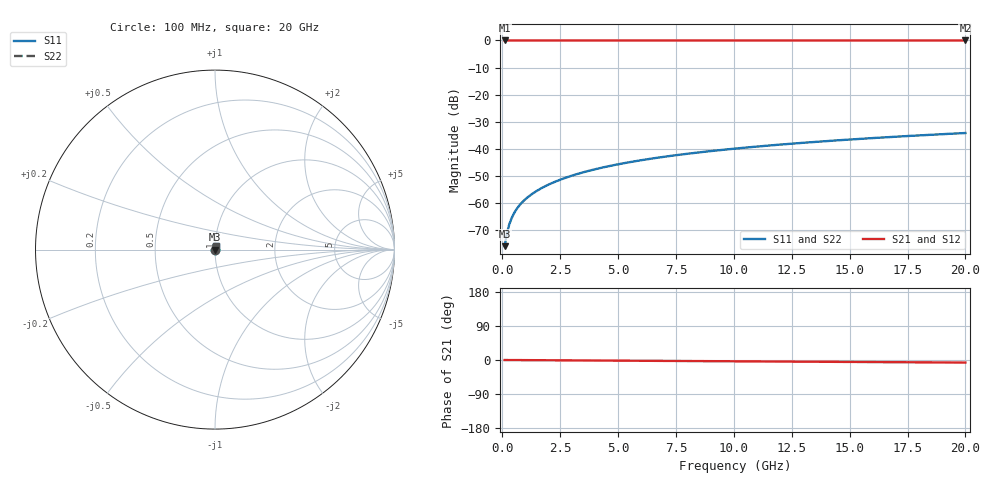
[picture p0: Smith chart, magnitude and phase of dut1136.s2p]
! Touchstone file exported from HFSS 2026.1.0
!  File:  C:/ffzhzh/LocalFiles/Ansys_Project_Files/temp_train_TSV_1136_1783191263_43440.aedt
!  Generated:  02:55:58 AM Jul  5, 2026
!  Design:  TSV
!  Project:  temp_train_TSV_1136_1783191263_43440
! Variables:
!  h_bsmrdl = 2um
!  h_ox = 20um
!  h_rdl = 5um
!  h_sub = 62.24um
!  h_tmrdl = 5um
!  h_tsv = 62.24um
!  h_via = 3um
!  l_bsmrdl = 300um
!  l_sub = 421.82um
!  l_tmrdl = 200um
!  m_sub = 200um
!  pitch = 52.22um
!  r_tsv = 10.91um
!  s_tmrdl = 10um
!  w_bsmrdl = 18um
!  w_sub = 500um
!  w_tmrdl = 12um
!  x_tsv_center1 = 206um
!  x_tsv_center2 = 524um
!  x_tsv_center3 = 736um
!  x_tsv_center4 = 1054um
!  x_tsv_center5 = 1266um
!  x_tsv_center6 = 1584um
# GHz S MA R 50.000000
! Terminal data exported
! Port[1] = TSV1_1_T1
! Port[2] = TSV1_1_T2
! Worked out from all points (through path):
!   200 points, 100 MHz to 20 GHz, reference 50 ohm
!   highest |S21| = 0.00 dB at 100 MHz (marker M1); lowest = 0.0 dB at 20 GHz (marker M2)
!   lowest |S11| = -75.9 dB at 100 MHz (marker M3), VSWR 1.00, Z = 50 + j0.0131 ohm
!   |S11| at or under -10 dB: start of sweep to end of sweep
!   |S22| runs from -75.9 to -34.2 dB; largest |S21 - S12| = 2.4e-15
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0.1  0.0001603 55.0  0.9999 -0.0  0.9999 -0.0  0.0001603 55.0
! Gamma 0 0 0 0
! Port Impedance 50 0 50 0
0.2  0.0002794 68.7  0.9999 -0.1  0.9999 -0.1  0.0002794 68.7
0.3  0.0004025 73.3  0.9999 -0.1  0.9999 -0.1  0.0004025 73.3
0.4  0.0005234 75.3  0.9999 -0.1  0.9999 -0.1  0.0005234 75.3
0.5  0.0006406 76.3  0.9999 -0.2  0.9999 -0.2  0.0006406 76.3
0.6  0.000754 76.9  0.9998 -0.2  0.9998 -0.2  0.000754 76.9
0.7  0.0008641 77.4  0.9998 -0.2  0.9998 -0.2  0.0008641 77.4
0.9  0.001077 78.1  0.9998 -0.3  0.9998 -0.3  0.001077 78.1
1.1  0.001284 78.8  0.9998 -0.4  0.9998 -0.4  0.001284 78.8
1.3  0.001487 79.4  0.9997 -0.5  0.9997 -0.5  0.001487 79.4
1.6  0.00179 80.2  0.9997 -0.6  0.9997 -0.6  0.00179 80.2
1.9  0.002093 80.9  0.9997 -0.7  0.9997 -0.7  0.002093 80.9
2.6  0.002798 81.9  0.9996 -0.9  0.9996 -0.9  0.002798 81.9
3.5  0.003701 82.6  0.9996 -1.2  0.9996 -1.2  0.003701 82.6
4.2  0.0044 82.8  0.9996 -1.4  0.9996 -1.4  0.0044 82.8
5  0.005193 83.0  0.9995 -1.7  0.9995 -1.7  0.005193 83.0
6.8  0.00696 83.0  0.9994 -2.3  0.9994 -2.3  0.00696 83.0
8.3  0.00842 82.9  0.9993 -2.8  0.9993 -2.8  0.00842 82.9
10.1  0.01016 82.7  0.9993 -3.4  0.9993 -3.4  0.01016 82.7
13.4  0.01334 82.1  0.9991 -4.6  0.9991 -4.6  0.01334 82.1
16.7  0.01649 81.3  0.999 -5.7  0.999 -5.7  0.01649 81.3
20  0.01961 80.4  0.9988 -6.8  0.9988 -6.8  0.01961 80.4
